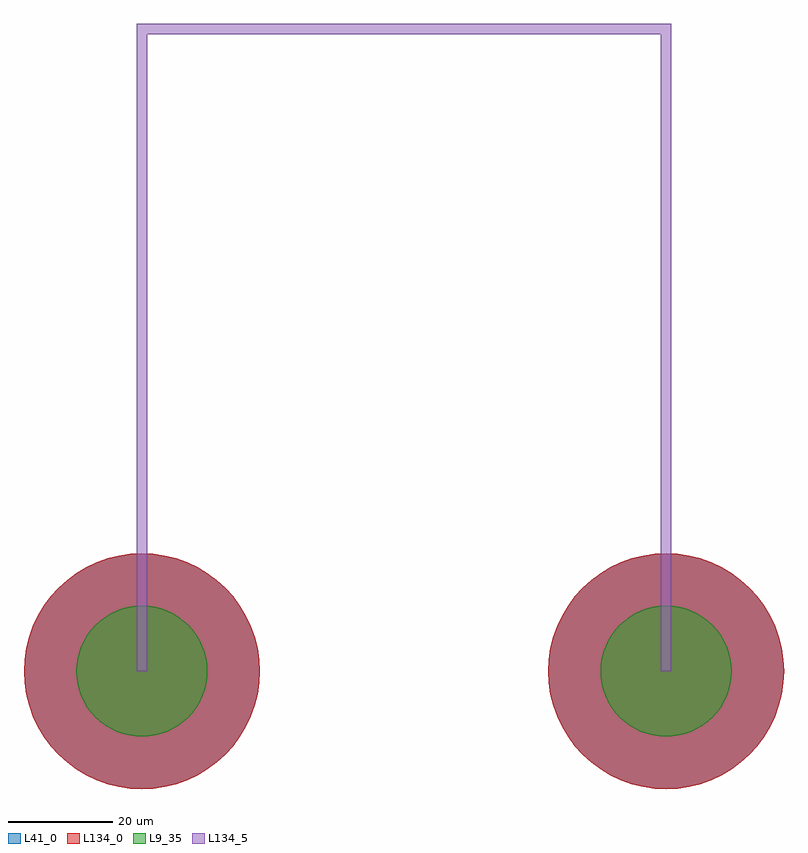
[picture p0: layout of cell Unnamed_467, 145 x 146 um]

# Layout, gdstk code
from math import pi, radians
import gdstk
lib = gdstk.Library(unit=1e-6, precision=1e-09)
def R(c, l, rs):  # rectangles x0, y0, x1, y1
    for r in rs: c.add(gdstk.rectangle(r[:2], r[2:], *l))
def P(c, l, *ps):  # polygons
    for p in ps: c.add(gdstk.Polygon(p, *l))
L9_35 = (9, 35)
L41_0 = (41, 0)
L134_0 = (134, 0)
L134_5 = (134, 5)

cupillarpad = lib.new_cell('CuPillarPad')
P(cupillarpad, L9_35, [(0,-12.5),(-1.225,-12.44),(-2.439,-12.26),(-3.629,-11.962),(-4.784,-11.548),(-5.892,-11.024),(-6.945,-10.393),(-7.93,-9.663),(-8.839,-8.839),(-9.663,-7.93),(-10.393,-6.945),(-11.024,-5.892),(-11.548,-4.784),(-11.962,-3.629),(-12.26,-2.439),(-12.44,-1.225),(-12.5,0),(-12.44,1.225),(-12.26,2.439),(-11.962,3.629),(-11.548,4.784),(-11.024,5.892),(-10.393,6.945),(-9.663,7.93),(-8.839,8.839),(-7.93,9.663),(-6.945,10.393),(-5.892,11.024),(-4.784,11.548),(-3.629,11.962),(-2.439,12.26),(-1.225,12.44),(0,12.5),(1.225,12.44),(2.439,12.26),(3.629,11.962),(4.784,11.548),(5.892,11.024),(6.945,10.393),(7.93,9.663),(8.839,8.839),(9.663,7.93),(10.393,6.945),(11.024,5.892),(11.548,4.784),(11.962,3.629),(12.26,2.439),(12.44,1.225),(12.5,0),(12.44,-1.225),(12.26,-2.439),(11.962,-3.629),(11.548,-4.784),(11.024,-5.892),(10.393,-6.945),(9.663,-7.93),(8.839,-8.839),(7.93,-9.663),(6.945,-10.393),(5.892,-11.024),(4.784,-11.548),(3.629,-11.962),(2.439,-12.26),(1.225,-12.44)])
P(cupillarpad, L41_0, [(0,-22.5),(-2.205,-22.392),(-4.39,-22.068),(-6.531,-21.531),(-8.61,-20.787),(-10.606,-19.843),(-12.5,-18.708),(-14.274,-17.393),(-15.91,-15.91),(-17.393,-14.274),(-18.708,-12.5),(-19.843,-10.606),(-20.787,-8.61),(-21.531,-6.531),(-22.068,-4.39),(-22.392,-2.205),(-22.5,0),(-22.392,2.205),(-22.068,4.39),(-21.531,6.531),(-20.787,8.61),(-19.843,10.606),(-18.708,12.5),(-17.393,14.274),(-15.91,15.91),(-14.274,17.393),(-12.5,18.708),(-10.606,19.843),(-8.61,20.787),(-6.531,21.531),(-4.39,22.068),(-2.205,22.392),(0,22.5),(2.205,22.392),(4.39,22.068),(6.531,21.531),(8.61,20.787),(10.606,19.843),(12.5,18.708),(14.274,17.393),(15.91,15.91),(17.393,14.274),(18.708,12.5),(19.843,10.606),(20.787,8.61),(21.531,6.531),(22.068,4.39),(22.392,2.205),(22.5,0),(22.392,-2.205),(22.068,-4.39),(21.531,-6.531),(20.787,-8.61),(19.843,-10.606),(18.708,-12.5),(17.393,-14.274),(15.91,-15.91),(14.274,-17.393),(12.5,-18.708),(10.606,-19.843),(8.61,-20.787),(6.531,-21.531),(4.39,-22.068),(2.205,-22.392)])
P(cupillarpad, L134_0, [(0,-22.5),(-2.205,-22.392),(-4.39,-22.068),(-6.531,-21.531),(-8.61,-20.787),(-10.606,-19.843),(-12.5,-18.708),(-14.274,-17.393),(-15.91,-15.91),(-17.393,-14.274),(-18.708,-12.5),(-19.843,-10.606),(-20.787,-8.61),(-21.531,-6.531),(-22.068,-4.39),(-22.392,-2.205),(-22.5,0),(-22.392,2.205),(-22.068,4.39),(-21.531,6.531),(-20.787,8.61),(-19.843,10.606),(-18.708,12.5),(-17.393,14.274),(-15.91,15.91),(-14.274,17.393),(-12.5,18.708),(-10.606,19.843),(-8.61,20.787),(-6.531,21.531),(-4.39,22.068),(-2.205,22.392),(0,22.5),(2.205,22.392),(4.39,22.068),(6.531,21.531),(8.61,20.787),(10.606,19.843),(12.5,18.708),(14.274,17.393),(15.91,15.91),(17.393,14.274),(18.708,12.5),(19.843,10.606),(20.787,8.61),(21.531,6.531),(22.068,4.39),(22.392,2.205),(22.5,0),(22.392,-2.205),(22.068,-4.39),(21.531,-6.531),(20.787,-8.61),(19.843,-10.606),(18.708,-12.5),(17.393,-14.274),(15.91,-15.91),(14.274,-17.393),(12.5,-18.708),(10.606,-19.843),(8.61,-20.787),(6.531,-21.531),(4.39,-22.068),(2.205,-22.392)])

straight_l10_csstrip_wno = lib.new_cell('straight_L10_CSstrip_WNone_N2')
R(straight_l10_csstrip_wno, L134_5, [(0,-1,10,1)])

unnamed_467 = lib.new_cell('Unnamed_467')
P(unnamed_467, L134_5, [(54,-122.5),(54,-1),(10,-1),(10,1),(56,1),(56,-122.5)],
  [(-46,-122.5),(-46,1),(0,1),(0,-1),(-44,-1),(-44,-122.5)])
unnamed_467.add(gdstk.Reference(cupillarpad, (-45,-122.5), rotation=3*pi/2))
unnamed_467.add(gdstk.Reference(cupillarpad, (55,-122.5), rotation=3*pi/2))
unnamed_467.add(gdstk.Reference(straight_l10_csstrip_wno, (0,0)))
unnamed_467.add(gdstk.Reference(straight_l10_csstrip_wno, (0,0)))

lib.write_gds('Unnamed_467.gds')
